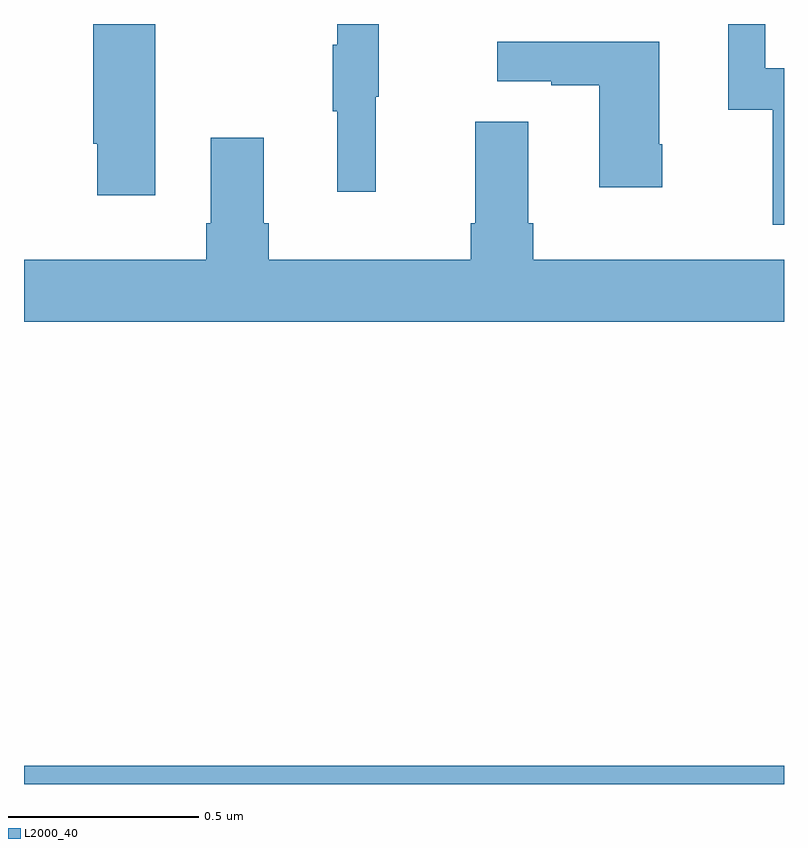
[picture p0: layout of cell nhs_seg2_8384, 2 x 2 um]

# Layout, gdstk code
import gdstk
lib = gdstk.Library(unit=1e-6, precision=1e-09)
def R(c, l, rs):  # rectangles x0, y0, x1, y1
    for r in rs: c.add(gdstk.rectangle(r[:2], r[2:], *l))
def P(c, l, *ps):  # polygons
    for p in ps: c.add(gdstk.Polygon(p, *l))
L2000_40 = (2000, 40)

nhs_seg2_8384 = lib.new_cell('nhs_seg2_8384')
R(nhs_seg2_8384, L2000_40, [(216,599.8,218,599.848)])
P(nhs_seg2_8384, L2000_40, [(218,601.683),(217.95,601.683),(217.95,601.8),(217.853,601.8),(217.853,601.575),(217.971,601.575),(217.971,601.272),(218,601.272)],
  [(216.346,601.8),(216.182,601.8),(216.182,601.485),(216.193,601.485),(216.193,601.35),(216.346,601.35)],
  [(216.926,601.608),(216.934,601.608),(216.934,601.8),(216.824,601.8),(216.824,601.745),(216.813,601.745),(216.813,601.571),(216.824,601.571),(216.824,601.359),(216.926,601.359)],
  [(217.68,601.483),(217.672,601.483),(217.672,601.753),(217.245,601.753),(217.245,601.649),(217.388,601.649),(217.388,601.639),(217.514,601.639),(217.514,601.371),(217.68,601.371)],
  [(218,601.18),(217.34,601.18),(217.34,601.276),(217.327,601.276),(217.327,601.543),(217.187,601.543),(217.187,601.276),(217.175,601.276),(217.175,601.18),(216.644,601.18),(216.644,601.276),(216.631,601.276),(216.631,601.501),(216.491,601.501),(216.491,601.276),(216.479,601.276),(216.479,601.18),(216,601.18),(216,601.016),(218,601.016)])

lib.write_gds('nhs_seg2_8384.gds')
